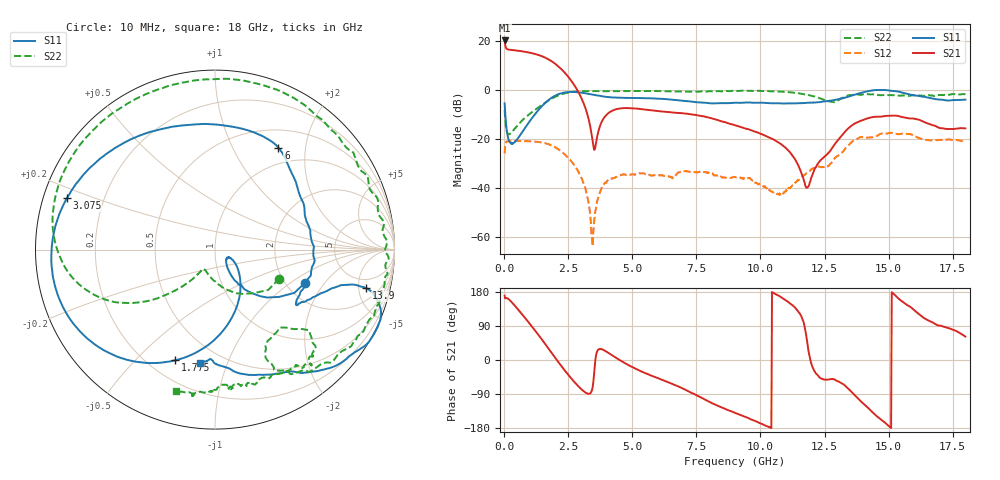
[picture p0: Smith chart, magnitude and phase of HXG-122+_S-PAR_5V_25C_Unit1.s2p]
!Mini-Circuits Laboratory
!S-Parameters
!Model: HXG-122+
!Run / Lot / Date Code: NA /  / N/A
!Fixture: TB-622+
!Network Analyzer: ;  Serial number: 71013
!Date: 8/3/2011 at 8:38:52 AM
!S/N: Unit# 1
!Tested with:
!V=5V; Temp=25 DegC
# Hz  S  dB  R  50
!Frequency  S11 dB  S11 Deg  S21 dB  S21 Deg  S12 dB  S12 Deg  S22 dB  S22 Deg
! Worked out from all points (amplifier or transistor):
!   879 points, 10 MHz to 18 GHz, reference 50 ohm
!   highest |S21| = 20.2 dB at 10 MHz (marker M1)
!   |S21| within 3 dB of that: start of sweep to 62.92 MHz
!   unconditionally stable (mu >= 1): 49.96 MHz to 14.26 GHz; 15.04 GHz to end of sweep
!   at 740 MHz: K = 1.11, MAG = 16.2 dB, |S12| = -20.8 dB
!   at 7.025 GHz: K = 5.91, MAG = 1.1 dB, |S12| = -33.1 dB
!   at 18 GHz: K = 6.47, MAG = -8.3 dB, |S12| = -21.3 dB
!   S11 on the Smith chart (normalised r, x): 10 MHz: 2.54, -1.31; 1.775 GHz: 0.30, -0.66; 3.075 GHz: 0.07, +0.17; 6 GHz: 0.75, +1.53; 13.9 GHz: 3.45, -6.03; 18 GHz: 0.38, -0.80
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1e7  -5.43 -20.0  20.20 169.7  -25.77 26.0  -8.11 -24.3
4.5e7  -11.28 -53.5  17.75 162.5  -21.66 14.4  -13.44 -79.4
8.5e7  -15.74 -57.7  16.86 163.6  -21.02 6.0  -16.47 -101.6
6.25e8  -18.26 -31.8  15.90 126.0  -20.78 -23.1  -13.14 -128.2
9.55e8  -13.21 -50.0  15.30 98.7  -20.86 -37.7  -10.02 -134.1
1.175e9  -10.12 -65.0  14.76 79.9  -21.00 -48.6  -8.25 -138.2
1.425e9  -7.02 -83.3  13.94 57.7  -21.28 -62.1  -6.38 -143.1
1.775e9  -3.67 -109.8  12.19 25.4  -22.26 -83.2  -3.95 -152.7
2.075e9  -1.85 -132.4  9.93 -2.5  -23.88 -102.5  -2.33 -163.9
2.325e9  -1.06 -150.5  7.45 -24.7  -25.89 -118.6  -1.44 -174.3
3.025e9  -1.09 164.0  -3.70 -78.3  -36.11 -160.6  -0.48 154.4
3.075e9  -1.17 160.9  -4.91 -81.2  -37.52 -163.6  -0.47 152.3
3.45e9  -1.86 138.7  -21.21 -70.5  -63.61 70.4  -0.43 135.8
4.05e9  -2.86 106.9  -9.49 19.5  -36.76 -28.5  -0.47 111.0
6e9  -3.50 58.0  -8.58 -48.0  -34.87 -77.6  -0.41 65.9
6.025e9  -3.52 57.7  -8.61 -48.7  -34.79 -78.1  -0.42 65.5
9.025e9  -5.19 0.9  -14.40 -140.0  -35.43 -135.0  -0.38 -4.1
1.07e10  -5.39 -24.1  -21.31 170.3  -42.37 123.0  -0.62 -31.9
1.2025e10  -5.12 -33.1  -34.60 -16.9  -32.11 4.3  -2.45 -62.9
1.39e10  -1.22 -14.3  -12.60 -107.8  -19.19 -55.7  -1.98 -48.4
1.5025e10  -0.19 -34.7  -10.47 -175.3  -17.47 -110.1  -2.05 -58.0
1.8e10  -3.92 -97.4  -15.63 61.8  -21.25 130.4  -1.75 -105.6
